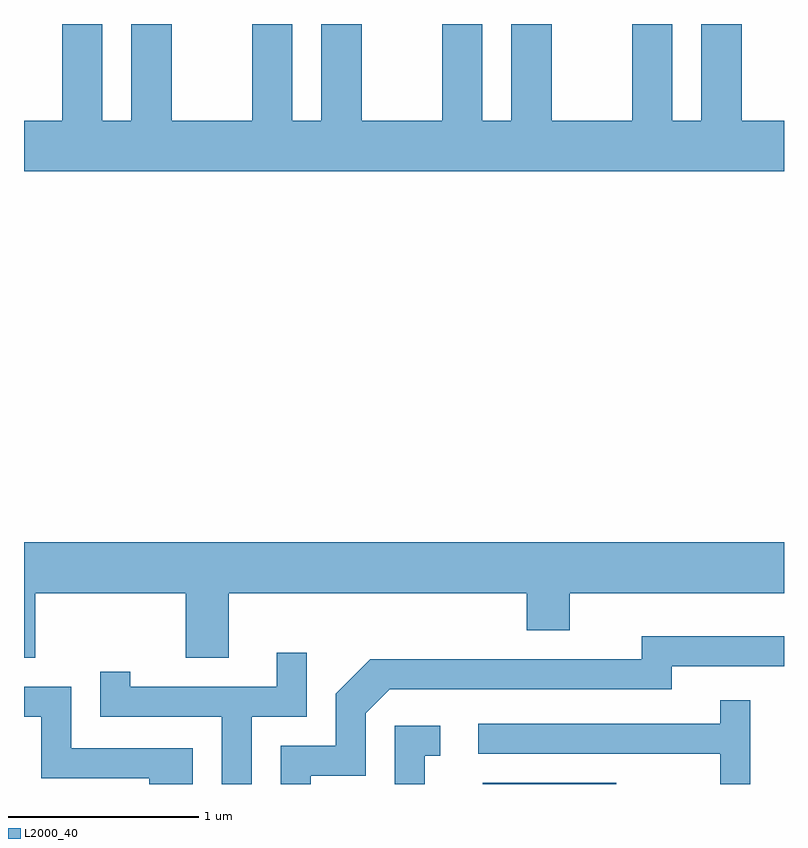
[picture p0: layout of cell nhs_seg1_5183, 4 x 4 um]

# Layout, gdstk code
import gdstk
lib = gdstk.Library(unit=1e-6, precision=1e-09)
def R(c, l, rs):  # rectangles x0, y0, x1, y1
    for r in rs: c.add(gdstk.rectangle(r[:2], r[2:], *l))
def P(c, l, *ps):  # polygons
    for p in ps: c.add(gdstk.Polygon(p, *l))
L2000_40 = (2000, 40)

nhs_seg1_5183 = lib.new_cell('nhs_seg1_5183')
R(nhs_seg1_5183, L2000_40, [(344.026,869.712,344.728,869.719)])
P(nhs_seg1_5183, L2000_40, [(345.611,873.204),(345.389,873.204),(345.389,873.712),(345.176,873.712),(345.176,873.204),(345.024,873.204),(345.024,873.712),(344.811,873.712),(344.811,873.204),(344.389,873.204),(344.389,873.712),(344.176,873.712),(344.176,873.204),(344.024,873.204),(344.024,873.712),(343.811,873.712),(343.811,873.204),(343.389,873.204),(343.389,873.712),(343.176,873.712),(343.176,873.204),(343.024,873.204),(343.024,873.712),(342.811,873.712),(342.811,873.204),(342.389,873.204),(342.389,873.712),(342.176,873.712),(342.176,873.204),(342.024,873.204),(342.024,873.712),(341.811,873.712),(341.811,873.204),(341.611,873.204),(341.611,872.936),(345.611,872.936)],
  [(341.669,870.716),(342.461,870.716),(342.461,870.376),(342.689,870.376),(342.689,870.716),(344.256,870.716),(344.256,870.521),(344.484,870.521),(344.484,870.716),(345.611,870.716),(345.611,870.984),(341.611,870.984),(341.611,870.376),(341.669,870.376)],
  [(343.119,869.756),(343.409,869.756),(343.409,870.084),(343.537,870.211),(345.019,870.211),(345.019,870.331),(345.611,870.331),(345.611,870.489),(344.861,870.489),(344.861,870.369),(343.434,870.369),(343.251,870.187),(343.251,869.914),(342.961,869.914),(342.961,869.712),(343.119,869.712)],
  [(342.809,870.066),(343.099,870.066),(343.099,870.403),(342.941,870.403),(342.941,870.224),(342.169,870.224),(342.169,870.303),(342.011,870.303),(342.011,870.066),(342.651,870.066),(342.651,869.712),(342.809,869.712)],
  [(342.499,869.899),(341.859,869.899),(341.859,870.224),(341.611,870.224),(341.611,870.066),(341.701,870.066),(341.701,869.741),(342.271,869.741),(342.271,869.712),(342.499,869.712)],
  [(345.434,870.153),(345.276,870.153),(345.276,870.029),(344.003,870.029),(344.003,869.871),(345.276,869.871),(345.276,869.712),(345.434,869.712)],
  [(343.719,869.861),(343.803,869.861),(343.803,870.019),(343.561,870.019),(343.561,869.712),(343.719,869.712)])

lib.write_gds('nhs_seg1_5183.gds')
